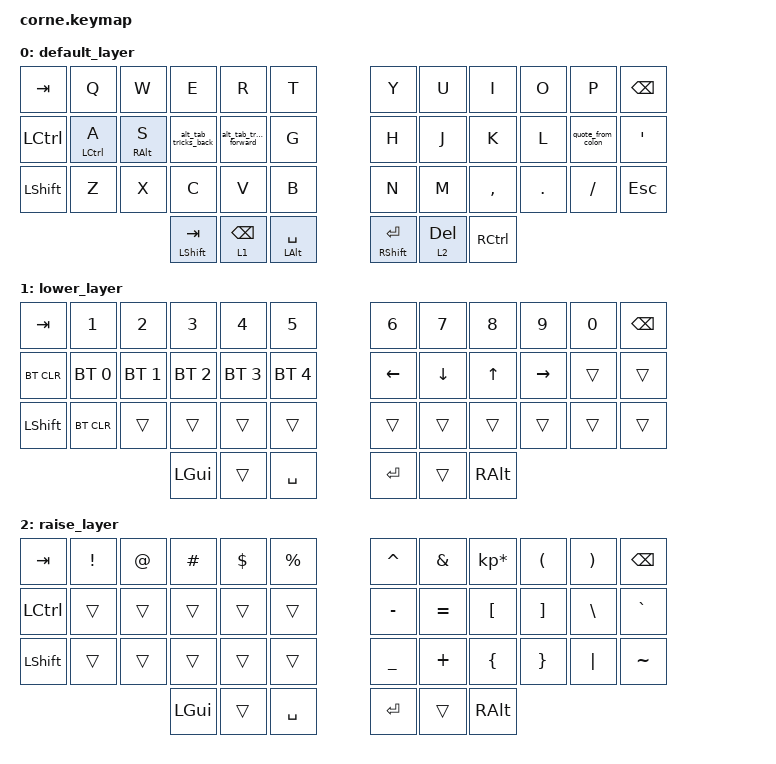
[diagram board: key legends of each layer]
/*
 * Copyright (c) 2020 The ZMK Contributors
 *
 * SPDX-License-Identifier: MIT
 */

#include <behaviors.dtsi>
#include <dt-bindings/zmk/bt.h>
#include <dt-bindings/zmk/keys.h>

&mt {
    tapping-term-ms = <400>;
};

/ {
    behaviors {
        quote_from_colon: quote_from_colon {
            compatible = "zmk,behavior-tap-dance";
            label = "QUOTE_FROM_COLON";
            #binding-cells = <0>;
            bindings = <&kp SEMICOLON>, <&kp SQT>;
        };

        alt_tab_tricks_back: alt_tab_tricks_back {
            compatible = "zmk,behavior-mod-morph";
            label = "ALT_TAB_TRICKS_BACK";
            bindings = <&kp D>, <&Shift_Tab>;

            #binding-cells = <0>;
            mods = <(MOD_RALT|MOD_LCTL)>;
            keep-mods = <(MOD_LCTL|MOD_RALT)>;
        };

        alt_tab_tricks_forward: alt_tab_tricks_forward {
            compatible = "zmk,behavior-mod-morph";
            label = "ALT_TAB_TRICKS_FORWARD";
            bindings = <&kp F>, <&kp TAB>;

            #binding-cells = <0>;
            keep-mods = <(MOD_RALT|MOD_LCTL)>;
            mods = <(MOD_RALT|MOD_LCTL)>;
        };

        activate_on_hold: activate_on_hold {
            compatible = "zmk,behavior-hold-tap";
            label = "ACTIVATE_ON_HOLD";
            bindings = <&kp>, <&kp>;

            #binding-cells = <2>;
            flavor = "tap-unless-interrupted";
            tapping-term-ms = <400>;
            require-prior-idle-ms = <250>;
        };
    };

    macros {
        Shift_Tab: Shift_Tab {
            compatible = "zmk,behavior-macro";
            #binding-cells = <0>;
            bindings = <&kp LS(TAB)>;
            label = "SHIFT_TAB";
        };
    };

    keymap {
        compatible = "zmk,keymap";

        default_layer {
            // -----------------------------------------------------------------------------------------
            // |  TAB |  Q  |  W  |  E  |  R  |  T  |   |  Y  |  U   |  I  |  O  |  P  | BKSP |
            // | CTRL |  A  |  S  |  D  |  F  |  G  |   |  H  |  J   |  K  |  L  |  ;  |  '   |
            // | SHFT |  Z  |  X  |  C  |  V  |  B  |   |  N  |  M   |  ,  |  .  |  /  | ESC  |
            //                    | GUI | LWR | SPC |   | ENT | RSE  | ALT |

            bindings = <
&kp TAB    &kp Q                      &kp W                          &kp E                 &kp R                    &kp T                 &kp Y                  &kp U         &kp I              &kp O    &kp P              &kp BSPC
&kp LCTRL  &activate_on_hold LCTRL A  &activate_on_hold RIGHT_ALT S  &alt_tab_tricks_back  &alt_tab_tricks_forward  &kp G                 &kp H                  &kp J         &kp K              &kp L    &quote_from_colon  &kp SQT
&kp LSHFT  &kp Z                      &kp X                          &kp C                 &kp V                    &kp B                 &kp N                  &kp M         &kp COMMA          &kp DOT  &kp FSLH           &kp ESC
                                                                     &mt LEFT_SHIFT TAB    &lt 1 BACKSPACE          &mt LEFT_ALT SPACE    &mt RIGHT_SHIFT ENTER  &lt 2 DELETE  &kp RIGHT_CONTROL
            >;
        };

        lower_layer {
            // -----------------------------------------------------------------------------------------
            // |  TAB |  1  |  2  |  3  |  4  |  5  |   |  6  |  7  |  8  |  9  |  0  | BKSP |
            // | BTCLR| BT1 | BT2 | BT3 | BT4 | BT5 |   | LFT | DWN |  UP | RGT |     |      |
            // | SHFT |     |     |     |     |     |   |     |     |     |     |     |      |
            //                    | GUI |     | SPC |   | ENT |     | ALT |

            bindings = <
&kp TAB     &kp N1        &kp N2        &kp N3        &kp N4        &kp N5          &kp N6    &kp N7    &kp N8    &kp N9     &kp N0  &kp BSPC
&bt BT_CLR  &bt BT_SEL 0  &bt BT_SEL 1  &bt BT_SEL 2  &bt BT_SEL 3  &bt BT_SEL 4    &kp LEFT  &kp DOWN  &kp UP    &kp RIGHT  &trans  &trans
&kp LSHFT   &bt BT_CLR    &trans        &trans        &trans        &trans          &trans    &trans    &trans    &trans     &trans  &trans
                                        &kp LGUI      &trans        &kp SPACE       &kp RET   &trans    &kp RALT
            >;
        };

        raise_layer {
            // -----------------------------------------------------------------------------------------
            // |  TAB |  !  |  @  |  #  |  $  |  %  |   |  ^  |  &  |  *  |  (  |  )  | BKSP |
            // | CTRL |     |     |     |     |     |   |  -  |  =  |  [  |  ]  |  \  |  `   |
            // | SHFT |     |     |     |     |     |   |  _  |  +  |  {  |  }  | "|" |  ~   |
            //                    | GUI |     | SPC |   | ENT |     | ALT |

            bindings = <
&kp TAB    &kp EXCL  &kp AT  &kp HASH  &kp DLLR  &kp PRCNT    &kp CARET  &kp AMPS   &kp KP_MULTIPLY  &kp LPAR  &kp RPAR  &kp BSPC
&kp LCTRL  &trans    &trans  &trans    &trans    &trans       &kp MINUS  &kp EQUAL  &kp LBKT         &kp RBKT  &kp BSLH  &kp GRAVE
&kp LSHFT  &trans    &trans  &trans    &trans    &trans       &kp UNDER  &kp PLUS   &kp LBRC         &kp RBRC  &kp PIPE  &kp TILDE
                             &kp LGUI  &trans    &kp SPACE    &kp RET    &trans     &kp RALT
            >;
        };
    };
};
